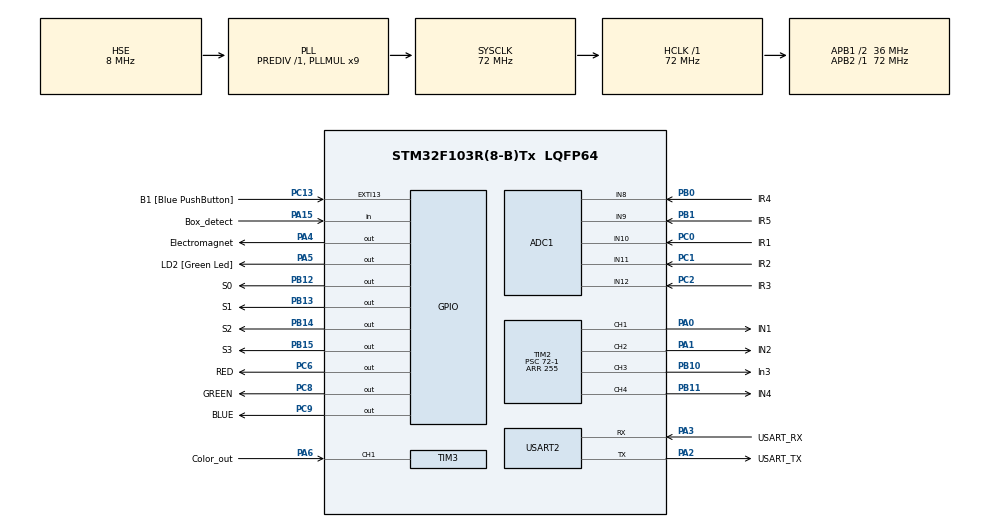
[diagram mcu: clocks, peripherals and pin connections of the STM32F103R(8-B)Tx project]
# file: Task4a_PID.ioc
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ADC1.Channel-0\#ChannelRegularConversion=ADC_CHANNEL_10
ADC1.Channel-1\#ChannelRegularConversion=ADC_CHANNEL_11
ADC1.Channel-2\#ChannelRegularConversion=ADC_CHANNEL_12
ADC1.Channel-3\#ChannelRegularConversion=ADC_CHANNEL_8
ADC1.Channel-4\#ChannelRegularConversion=ADC_CHANNEL_9
ADC1.ContinuousConvMode=ENABLE
ADC1.NbrOfConversion=5
ADC1.NbrOfConversionFlag=1
ADC1.Rank-0\#ChannelRegularConversion=1
ADC1.Rank-1\#ChannelRegularConversion=2
ADC1.Rank-2\#ChannelRegularConversion=3
ADC1.Rank-3\#ChannelRegularConversion=4
ADC1.Rank-4\#ChannelRegularConversion=5
ADC1.SamplingTime-0\#ChannelRegularConversion=ADC_SAMPLETIME_55CYCLES_5
ADC1.SamplingTime-1\#ChannelRegularConversion=ADC_SAMPLETIME_55CYCLES_5
ADC1.SamplingTime-2\#ChannelRegularConversion=ADC_SAMPLETIME_55CYCLES_5
ADC1.SamplingTime-3\#ChannelRegularConversion=ADC_SAMPLETIME_55CYCLES_5
ADC1.SamplingTime-4\#ChannelRegularConversion=ADC_SAMPLETIME_55CYCLES_5
ADC1.master=1
Dma.ADC1.0.Direction=DMA_PERIPH_TO_MEMORY
Dma.ADC1.0.Instance=DMA1_Channel1
Dma.ADC1.0.MemDataAlignment=DMA_MDATAALIGN_HALFWORD
Dma.ADC1.0.MemInc=DMA_MINC_ENABLE
Dma.ADC1.0.Mode=DMA_CIRCULAR
Dma.ADC1.0.PeriphDataAlignment=DMA_PDATAALIGN_HALFWORD
Dma.ADC1.0.PeriphInc=DMA_PINC_DISABLE
Dma.ADC1.0.Priority=DMA_PRIORITY_LOW
Dma.Request0=ADC1
Mcu.Family=STM32F1
Mcu.Name=STM32F103R(8-B)Tx
Mcu.Package=LQFP64
NVIC.ADC1_2_IRQn=true\:0\:0\:false\:false\:true\:true\:true\:true
NVIC.DMA1_Channel1_IRQn=true\:0\:0\:false\:false\:true\:false\:true\:true
NVIC.EXTI15_10_IRQn=true\:0\:0\:false\:false\:true\:true\:true\:true
NVIC.PriorityGroup=NVIC_PRIORITYGROUP_4
NVIC.TIM3_IRQn=true\:0\:0\:false\:false\:true\:true\:true\:true
PA0-WKUP.GPIO_Label=IN1
PA0-WKUP.Signal=S_TIM2_CH1_ETR
PA1.GPIO_Label=IN2
PA1.Signal=S_TIM2_CH2
PA13.GPIO_Label=TMS
PA13.Mode=Serial_Wire
PA13.Signal=SYS_JTMS-SWDIO
PA14.GPIO_Label=TCK
PA14.Mode=Serial_Wire
PA14.Signal=SYS_JTCK-SWCLK
PA15.GPIO_Label=Box_detect
PA15.Signal=GPIO_Input
PA2.GPIO_Label=USART_TX
PA2.GPIO_Mode=GPIO_MODE_AF_PP
PA2.GPIO_PuPd=GPIO_NOPULL
PA2.GPIO_Speed=GPIO_SPEED_FREQ_LOW
PA2.Mode=Asynchronous
PA2.Signal=USART2_TX
PA3.GPIO_Label=USART_RX
PA3.GPIO_Mode=GPIO_MODE_AF_PP
PA3.GPIO_PuPd=GPIO_NOPULL
PA3.GPIO_Speed=GPIO_SPEED_FREQ_LOW
PA3.Mode=Asynchronous
PA3.Signal=USART2_RX
PA4.GPIO_Label=Electromagnet
PA4.Signal=GPIO_Output
PA5.GPIO_Label=LD2 [Green Led]
PA5.GPIO_ModeDefaultOutputPP=GPIO_MODE_OUTPUT_PP
PA5.GPIO_PuPd=GPIO_NOPULL
PA5.GPIO_Speed=GPIO_SPEED_FREQ_LOW
PA5.Signal=GPIO_Output
PA6.GPIO_Label=Color_out
PA6.Signal=S_TIM3_CH1
PB0.GPIO_Label=IR4
PB0.Signal=ADCx_IN8
PB1.GPIO_Label=IR5
PB1.Signal=ADCx_IN9
PB10.GPIO_Label=In3
PB10.Signal=S_TIM2_CH3
PB11.GPIO_Label=IN4
PB11.Signal=S_TIM2_CH4
PB12.GPIO_Label=S0
PB12.Signal=GPIO_Output
PB13.GPIO_Label=S1
PB13.Signal=GPIO_Output
PB14.GPIO_Label=S2
PB14.Signal=GPIO_Output
PB15.GPIO_Label=S3
PB15.Signal=GPIO_Output
PB3.GPIO_Label=SWO
PB3.Signal=SYS_JTDO-TRACESWO
PC0.GPIO_Label=IR1
PC0.Signal=ADCx_IN10
PC1.GPIO_Label=IR2
PC1.Signal=ADCx_IN11
PC13-TAMPER-RTC.GPIO_Label=B1 [Blue PushButton]
PC13-TAMPER-RTC.GPIO_PuPd=GPIO_NOPULL
PC13-TAMPER-RTC.Signal=GPXTI13
PC14-OSC32_IN.Mode=LSE-External-Oscillator
PC14-OSC32_IN.Signal=RCC_OSC32_IN
PC15-OSC32_OUT.Mode=LSE-External-Oscillator
PC15-OSC32_OUT.Signal=RCC_OSC32_OUT
PC2.GPIO_Label=IR3
PC2.Signal=ADCx_IN12
PC6.GPIO_Label=RED
PC6.Signal=GPIO_Output
PC8.GPIO_Label=GREEN
PC8.Signal=GPIO_Output
PC9.GPIO_Label=BLUE
PC9.Signal=GPIO_Output
PD0-OSC_IN.Mode=HSE-External-Clock-Source
PD0-OSC_IN.Signal=RCC_OSC_IN
PD1-OSC_OUT.Mode=HSE-External-Clock-Source
PD1-OSC_OUT.Signal=RCC_OSC_OUT
ProjectManager.HeapSize=0x200
ProjectManager.StackSize=0x400
ProjectManager.TargetToolchain=STM32CubeIDE
RCC.ADCPresc=RCC_ADCPCLK2_DIV6
RCC.AHBFreq_Value=72000000
RCC.APB1CLKDivider=RCC_HCLK_DIV2
RCC.APB1Freq_Value=36000000
RCC.APB1TimFreq_Value=72000000
RCC.APB2Freq_Value=72000000
RCC.APB2TimFreq_Value=72000000
RCC.HCLKFreq_Value=72000000
RCC.PLLMUL=RCC_PLL_MUL9
RCC.PLLSourceVirtual=RCC_PLLSOURCE_HSE
RCC.RTCClockSelection=RCC_RTCCLKSOURCE_LSE
RCC.SYSCLKFreq_VALUE=72000000
RCC.SYSCLKSource=RCC_SYSCLKSOURCE_PLLCLK
RCC.USBFreq_Value=72000000
SH.ADCx_IN10.0=ADC1_IN10,IN10
SH.ADCx_IN11.0=ADC1_IN11,IN11
SH.ADCx_IN12.0=ADC1_IN12,IN12
SH.ADCx_IN8.0=ADC1_IN8,IN8
SH.ADCx_IN9.0=ADC1_IN9,IN9
SH.S_TIM2_CH1_ETR.0=TIM2_CH1,PWM Generation1 CH1
SH.S_TIM2_CH2.0=TIM2_CH2,PWM Generation2 CH2
SH.S_TIM2_CH3.0=TIM2_CH3,PWM Generation3 CH3
SH.S_TIM2_CH4.0=TIM2_CH4,PWM Generation4 CH4
SH.S_TIM3_CH1.0=TIM3_CH1,Input_Capture1_from_TI1
TIM2.Channel-PWM\ Generation1\ CH1=TIM_CHANNEL_1
TIM2.Channel-PWM\ Generation2\ CH2=TIM_CHANNEL_2
TIM2.Channel-PWM\ Generation3\ CH3=TIM_CHANNEL_3
TIM2.Channel-PWM\ Generation4\ CH4=TIM_CHANNEL_4
TIM2.Period=255
TIM2.Prescaler=72-1
TIM3.Channel-Input_Capture1_from_TI1=TIM_CHANNEL_1
USART2.VirtualMode=VM_ASYNC
board=NUCLEO-F103RB

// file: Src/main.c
/* USER CODE BEGIN Header */
/**
  ******************************************************************************
  * @file           : main.c
  * @brief          : Main program body for PID Line Follower
  ******************************************************************************
  */
/* USER CODE END Header */
#include "main.h"

ADC_HandleTypeDef hadc1;
DMA_HandleTypeDef hdma_adc1;
TIM_HandleTypeDef htim2;
TIM_HandleTypeDef htim3;
UART_HandleTypeDef huart2;

/* USER CODE BEGIN PV */
// PID Tuning Constants
float Kp = 150.0;  // Proportional: Initial reaction to error
float Ki = 0.01;   // Integral: Corrects long-term steady-state error
float Kd = 60.0;   // Derivative: Acts as a brake to prevent wobbling

// PID State Variables
float error = 0, last_error = 0, integral = 0, derivative = 0;
float turn_correction = 0;

// Target speed (Max is 255 based on your current TIM2 Period)
int base_speed = 180;
/* USER CODE END PV */

void SystemClock_Config(void);
static void MX_GPIO_Init(void);
static void MX_DMA_Init(void);
static void MX_USART2_UART_Init(void);
static void MX_ADC1_Init(void);
static void MX_TIM2_Init(void);
static void MX_TIM3_Init(void);

/* USER CODE BEGIN 0 */
/**
  * @brief  Motor control function for N20 motors.
  * @param  leftSpeed: PWM value for left motor (-255 to 255)
  * @param  rightSpeed: PWM value for right motor (-255 to 255)
  */
void Set_Motor_Speed(int leftSpeed, int rightSpeed) {
    // Constraints to prevent PWM overflow (Your ARR is 255)
    if (leftSpeed > 255)  leftSpeed = 255;
    if (rightSpeed > 255) rightSpeed = 255;
    if (leftSpeed < -255) leftSpeed = -255;
    if (rightSpeed < -255) rightSpeed = -255;

    // --- LEFT MOTOR (PA0/PA1) ---
    if (leftSpeed >= 0) {
        __HAL_TIM_SET_COMPARE(&htim2, TIM_CHANNEL_1, leftSpeed);
        __HAL_TIM_SET_COMPARE(&htim2, TIM_CHANNEL_2, 0);
    } else {
        __HAL_TIM_SET_COMPARE(&htim2, TIM_CHANNEL_1, 0);
        __HAL_TIM_SET_COMPARE(&htim2, TIM_CHANNEL_2, -leftSpeed);
    }

    // --- RIGHT MOTOR (PB10/PB11) ---
    if (rightSpeed >= 0) {
        __HAL_TIM_SET_COMPARE(&htim2, TIM_CHANNEL_3, rightSpeed);
        __HAL_TIM_SET_COMPARE(&htim2, TIM_CHANNEL_4, 0);
    } else {
        __HAL_TIM_SET_COMPARE(&htim2, TIM_CHANNEL_3, 0);
        __HAL_TIM_SET_COMPARE(&htim2, TIM_CHANNEL_4, -rightSpeed);
    }
}
/* USER CODE END 0 */

int main(void)
{
  HAL_Init();
  SystemClock_Config();

  /* Initialize all configured peripherals */
  MX_GPIO_Init();
  MX_DMA_Init();
  MX_USART2_UART_Init();
  MX_ADC1_Init();
  MX_TIM2_Init();
  MX_TIM3_Init();

  /* USER CODE BEGIN 2 */
  // Start the Motor PWM Timers
  HAL_TIM_PWM_Start(&htim2, TIM_CHANNEL_1);
  HAL_TIM_PWM_Start(&htim2, TIM_CHANNEL_2);
  HAL_TIM_PWM_Start(&htim2, TIM_CHANNEL_3);
  HAL_TIM_PWM_Start(&htim2, TIM_CHANNEL_4);
  /* USER CODE END 2 */

  /* Infinite loop */
  while (1)
  {
    /* USER CODE BEGIN 3 */
    // 1. Read Waveshare Sensors (Logic 1 = White Line, 0 = Black Floor)
    uint8_t ir1 = HAL_GPIO_ReadPin(GPIOC, GPIO_PIN_0); // Far Left
    uint8_t ir2 = HAL_GPIO_ReadPin(GPIOC, GPIO_PIN_1); // Left
    uint8_t ir3 = HAL_GPIO_ReadPin(GPIOC, GPIO_PIN_2); // Center
    uint8_t ir4 = HAL_GPIO_ReadPin(GPIOB, GPIO_PIN_0); // Right
    uint8_t ir5 = HAL_GPIO_ReadPin(GPIOB, GPIO_PIN_1); // Far Right

    // 2. Map Sensors to Error Value
    if (ir3 == 1)      error = 0;   // Perfectly centered
    else if (ir2 == 1) error = -1;  // Slightly left
    else if (ir4 == 1) error = 1;   // Slightly right
    else if (ir1 == 1) error = -2;  // Hard left
    else if (ir5 == 1) error = 2;   // Hard right
    else {
        // Line lost - use memory to continue turn
        if (last_error < 0) error = -3;
        else if (last_error > 0) error = 3;
    }

    // 3. PID Math Calculation
    integral += error;
    if (integral > 255)  integral = 255;  // Anti-windup
    if (integral < -255) integral = -255;

    derivative = error - last_error;
    turn_correction = (Kp * error) + (Ki * integral) + (Kd * derivative);
    last_error = error;

    // 4. Calculate Final Motor Speeds
    int left_out  = base_speed + (int)turn_correction;
    int right_out = base_speed - (int)turn_correction;

    // 5. Apply to Motors
    Set_Motor_Speed(left_out, right_out);

    // 6. Loop Delay (100Hz frequency)
    HAL_Delay(10);
    /* USER CODE END 3 */
  }
}

// ... Rest of your hardware initialization code (SystemClock_Config, etc.)
void SystemClock_Config(void)
{
  RCC_OscInitTypeDef RCC_OscInitStruct = {0};
  RCC_ClkInitTypeDef RCC_ClkInitStruct = {0};
  RCC_PeriphCLKInitTypeDef PeriphClkInit = {0};

  /** Initializes the RCC Oscillators according to the specified parameters
  * in the RCC_OscInitTypeDef structure.
  */
  RCC_OscInitStruct.OscillatorType = RCC_OSCILLATORTYPE_HSE;
  RCC_OscInitStruct.HSEState = RCC_HSE_BYPASS;
  RCC_OscInitStruct.HSEPredivValue = RCC_HSE_PREDIV_DIV1;
  RCC_OscInitStruct.HSIState = RCC_HSI_ON;
  RCC_OscInitStruct.PLL.PLLState = RCC_PLL_ON;
  RCC_OscInitStruct.PLL.PLLSource = RCC_PLLSOURCE_HSE;
  RCC_OscInitStruct.PLL.PLLMUL = RCC_PLL_MUL9;
  if (HAL_RCC_OscConfig(&RCC_OscInitStruct) != HAL_OK)
  {
    Error_Handler();
  }

  /** Initializes the CPU, AHB and APB buses clocks
  */
  RCC_ClkInitStruct.ClockType = RCC_CLOCKTYPE_HCLK|RCC_CLOCKTYPE_SYSCLK
                              |RCC_CLOCKTYPE_PCLK1|RCC_CLOCKTYPE_PCLK2;
  RCC_ClkInitStruct.SYSCLKSource = RCC_SYSCLKSOURCE_PLLCLK;
  RCC_ClkInitStruct.AHBCLKDivider = RCC_SYSCLK_DIV1;
  RCC_ClkInitStruct.APB1CLKDivider = RCC_HCLK_DIV2;
  RCC_ClkInitStruct.APB2CLKDivider = RCC_HCLK_DIV1;

  if (HAL_RCC_ClockConfig(&RCC_ClkInitStruct, FLASH_LATENCY_2) != HAL_OK)
  {
    Error_Handler();
  }
  PeriphClkInit.PeriphClockSelection = RCC_PERIPHCLK_ADC;
  PeriphClkInit.AdcClockSelection = RCC_ADCPCLK2_DIV6;
  if (HAL_RCCEx_PeriphCLKConfig(&PeriphClkInit) != HAL_OK)
  {
    Error_Handler();
  }
}

static void MX_ADC1_Init(void)
{

  ADC_ChannelConfTypeDef sConfig = {0};

  /** Common config
  */
  hadc1.Instance = ADC1;
  hadc1.Init.ScanConvMode = ADC_SCAN_ENABLE;
  hadc1.Init.ContinuousConvMode = ENABLE;
  hadc1.Init.DiscontinuousConvMode = DISABLE;
  hadc1.Init.ExternalTrigConv = ADC_SOFTWARE_START;
  hadc1.Init.DataAlign = ADC_DATAALIGN_RIGHT;
  hadc1.Init.NbrOfConversion = 5;
  if (HAL_ADC_Init(&hadc1) != HAL_OK)
  {
    Error_Handler();
  }

  /** Configure Regular Channel
  */
  sConfig.Channel = ADC_CHANNEL_10;
  sConfig.Rank = ADC_REGULAR_RANK_1;
  sConfig.SamplingTime = ADC_SAMPLETIME_55CYCLES_5;
  if (HAL_ADC_ConfigChannel(&hadc1, &sConfig) != HAL_OK)
  {
    Error_Handler();
  }

  /** Configure Regular Channel
  */
  sConfig.Channel = ADC_CHANNEL_11;
  sConfig.Rank = ADC_REGULAR_RANK_2;
  if (HAL_ADC_ConfigChannel(&hadc1, &sConfig) != HAL_OK)
  {
    Error_Handler();
  }

  /** Configure Regular Channel
  */
  sConfig.Channel = ADC_CHANNEL_12;
  sConfig.Rank = ADC_REGULAR_RANK_3;
  if (HAL_ADC_ConfigChannel(&hadc1, &sConfig) != HAL_OK)
  {
    Error_Handler();
  }

  /** Configure Regular Channel
  */
  sConfig.Channel = ADC_CHANNEL_8;
  sConfig.Rank = ADC_REGULAR_RANK_4;
  if (HAL_ADC_ConfigChannel(&hadc1, &sConfig) != HAL_OK)
  {
    Error_Handler();
  }

  /** Configure Regular Channel
  */
  sConfig.Channel = ADC_CHANNEL_9;
  sConfig.Rank = ADC_REGULAR_RANK_5;
  if (HAL_ADC_ConfigChannel(&hadc1, &sConfig) != HAL_OK)
  {
    Error_Handler();
  }

}

static void MX_TIM2_Init(void)
{

  TIM_MasterConfigTypeDef sMasterConfig = {0};
  TIM_OC_InitTypeDef sConfigOC = {0};

  htim2.Instance = TIM2;
  htim2.Init.Prescaler = 72-1;
  htim2.Init.CounterMode = TIM_COUNTERMODE_UP;
  htim2.Init.Period = 255;
  htim2.Init.ClockDivision = TIM_CLOCKDIVISION_DIV1;
  htim2.Init.AutoReloadPreload = TIM_AUTORELOAD_PRELOAD_DISABLE;
  if (HAL_TIM_PWM_Init(&htim2) != HAL_OK)
  {
    Error_Handler();
  }
  sMasterConfig.MasterOutputTrigger = TIM_TRGO_RESET;
  sMasterConfig.MasterSlaveMode = TIM_MASTERSLAVEMODE_DISABLE;
  if (HAL_TIMEx_MasterConfigSynchronization(&htim2, &sMasterConfig) != HAL_OK)
  {
    Error_Handler();
  }
  sConfigOC.OCMode = TIM_OCMODE_PWM1;
  sConfigOC.Pulse = 0;
  sConfigOC.OCPolarity = TIM_OCPOLARITY_HIGH;
  sConfigOC.OCFastMode = TIM_OCFAST_DISABLE;
  if (HAL_TIM_PWM_ConfigChannel(&htim2, &sConfigOC, TIM_CHANNEL_1) != HAL_OK)
  {
    Error_Handler();
  }
  if (HAL_TIM_PWM_ConfigChannel(&htim2, &sConfigOC, TIM_CHANNEL_2) != HAL_OK)
  {
    Error_Handler();
  }
  if (HAL_TIM_PWM_ConfigChannel(&htim2, &sConfigOC, TIM_CHANNEL_3) != HAL_OK)
  {
    Error_Handler();
  }
  if (HAL_TIM_PWM_ConfigChannel(&htim2, &sConfigOC, TIM_CHANNEL_4) != HAL_OK)
  {
    Error_Handler();
  }
  HAL_TIM_MspPostInit(&htim2);

}

static void MX_TIM3_Init(void)
{

  TIM_MasterConfigTypeDef sMasterConfig = {0};
  TIM_IC_InitTypeDef sConfigIC = {0};

  htim3.Instance = TIM3;
  htim3.Init.Prescaler = 0;
  htim3.Init.CounterMode = TIM_COUNTERMODE_UP;
  htim3.Init.Period = 65535;
  htim3.Init.ClockDivision = TIM_CLOCKDIVISION_DIV1;
  htim3.Init.AutoReloadPreload = TIM_AUTORELOAD_PRELOAD_DISABLE;
  if (HAL_TIM_IC_Init(&htim3) != HAL_OK)
  {
    Error_Handler();
  }
  sMasterConfig.MasterOutputTrigger = TIM_TRGO_RESET;
  sMasterConfig.MasterSlaveMode = TIM_MASTERSLAVEMODE_DISABLE;
  if (HAL_TIMEx_MasterConfigSynchronization(&htim3, &sMasterConfig) != HAL_OK)
  {
    Error_Handler();
  }
  sConfigIC.ICPolarity = TIM_INPUTCHANNELPOLARITY_RISING;
  sConfigIC.ICSelection = TIM_ICSELECTION_DIRECTTI;
  sConfigIC.ICPrescaler = TIM_ICPSC_DIV1;
  sConfigIC.ICFilter = 0;
  if (HAL_TIM_IC_ConfigChannel(&htim3, &sConfigIC, TIM_CHANNEL_1) != HAL_OK)
  {
    Error_Handler();
  }

}

static void MX_USART2_UART_Init(void)
{

  huart2.Instance = USART2;
  huart2.Init.BaudRate = 115200;
  huart2.Init.WordLength = UART_WORDLENGTH_8B;
  huart2.Init.StopBits = UART_STOPBITS_1;
  huart2.Init.Parity = UART_PARITY_NONE;
  huart2.Init.Mode = UART_MODE_TX_RX;
  huart2.Init.HwFlowCtl = UART_HWCONTROL_NONE;
  huart2.Init.OverSampling = UART_OVERSAMPLING_16;
  if (HAL_UART_Init(&huart2) != HAL_OK)
  {
    Error_Handler();
  }

}

static void MX_DMA_Init(void)
{

  /* DMA controller clock enable */
  __HAL_RCC_DMA1_CLK_ENABLE();

  /* DMA interrupt init */
  /* DMA1_Channel1_IRQn interrupt configuration */
  HAL_NVIC_SetPriority(DMA1_Channel1_IRQn, 0, 0);
  HAL_NVIC_EnableIRQ(DMA1_Channel1_IRQn);

}

static void MX_GPIO_Init(void)
{
  GPIO_InitTypeDef GPIO_InitStruct = {0};

  /* GPIO Ports Clock Enable */
  __HAL_RCC_GPIOC_CLK_ENABLE();
  __HAL_RCC_GPIOD_CLK_ENABLE();
  __HAL_RCC_GPIOA_CLK_ENABLE();
  __HAL_RCC_GPIOB_CLK_ENABLE();

  /*Configure GPIO pin Output Level */
  HAL_GPIO_WritePin(GPIOA, Electromagnet_Pin|LD2_Pin, GPIO_PIN_RESET);

  /*Configure GPIO pin Output Level */
  HAL_GPIO_WritePin(GPIOB, S0_Pin|S1_Pin|S2_Pin|S3_Pin, GPIO_PIN_RESET);

  /*Configure GPIO pin Output Level */
  HAL_GPIO_WritePin(GPIOC, RED_Pin|GREEN_Pin|BLUE_Pin, GPIO_PIN_RESET);

  /*Configure GPIO pin : B1_Pin */
  GPIO_InitStruct.Pin = B1_Pin;
  GPIO_InitStruct.Mode = GPIO_MODE_IT_RISING;
  GPIO_InitStruct.Pull = GPIO_NOPULL;
  HAL_GPIO_Init(B1_GPIO_Port, &GPIO_InitStruct);

  /*Configure GPIO pins : Electromagnet_Pin LD2_Pin */
  GPIO_InitStruct.Pin = Electromagnet_Pin|LD2_Pin;
  GPIO_InitStruct.Mode = GPIO_MODE_OUTPUT_PP;
  GPIO_InitStruct.Pull = GPIO_NOPULL;
  GPIO_InitStruct.Speed = GPIO_SPEED_FREQ_LOW;
  HAL_GPIO_Init(GPIOA, &GPIO_InitStruct);

  /*Configure GPIO pins : S0_Pin S1_Pin S2_Pin S3_Pin */
  GPIO_InitStruct.Pin = S0_Pin|S1_Pin|S2_Pin|S3_Pin;
  GPIO_InitStruct.Mode = GPIO_MODE_OUTPUT_PP;
  GPIO_InitStruct.Pull = GPIO_NOPULL;
  GPIO_InitStruct.Speed = GPIO_SPEED_FREQ_LOW;
  HAL_GPIO_Init(GPIOB, &GPIO_InitStruct);

  /*Configure GPIO pins : RED_Pin GREEN_Pin BLUE_Pin */
  GPIO_InitStruct.Pin = RED_Pin|GREEN_Pin|BLUE_Pin;
  GPIO_InitStruct.Mode = GPIO_MODE_OUTPUT_PP;
  GPIO_InitStruct.Pull = GPIO_NOPULL;
  GPIO_InitStruct.Speed = GPIO_SPEED_FREQ_LOW;
  HAL_GPIO_Init(GPIOC, &GPIO_InitStruct);

  /*Configure GPIO pin : Box_detect_Pin */
  GPIO_InitStruct.Pin = Box_detect_Pin;
  GPIO_InitStruct.Mode = GPIO_MODE_INPUT;
  GPIO_InitStruct.Pull = GPIO_NOPULL;
  HAL_GPIO_Init(Box_detect_GPIO_Port, &GPIO_InitStruct);

  /* EXTI interrupt init*/
  HAL_NVIC_SetPriority(EXTI15_10_IRQn, 0, 0);
  HAL_NVIC_EnableIRQ(EXTI15_10_IRQn);

}

void Error_Handler(void)
{
  __disable_irq();
  while (1)
  {
  }
}
